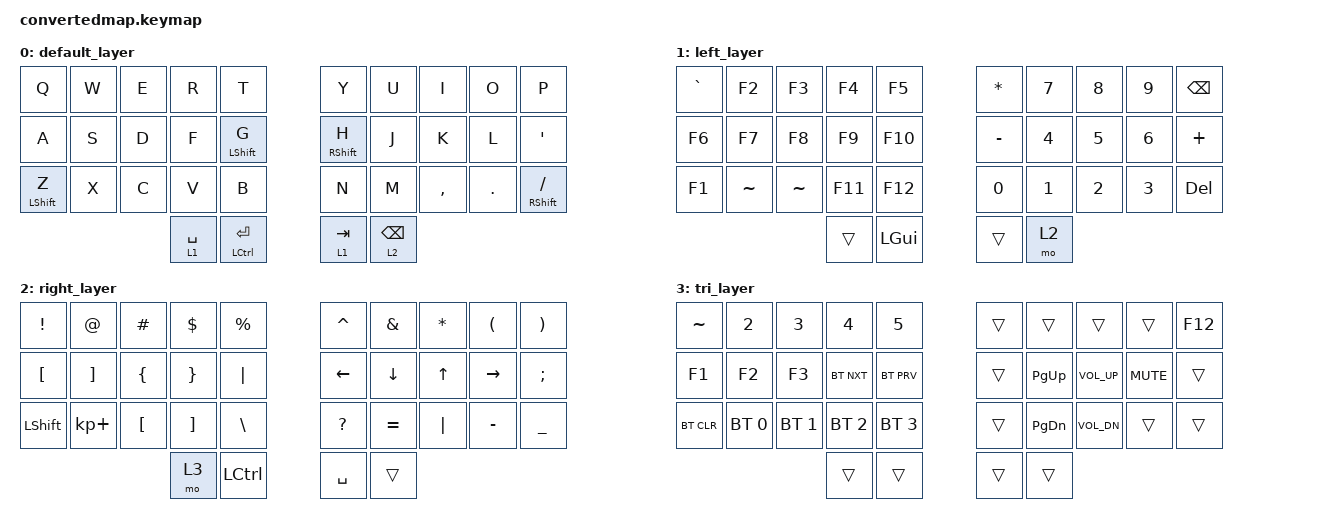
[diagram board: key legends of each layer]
/*
 * Copyright (c) 2020 The ZMK Contributors
 *
 * SPDX-License-Identifier: MIT
 */

#include <behaviors.dtsi>
#include <dt-bindings/zmk/keys.h>
#include <dt-bindings/zmk/bt.h>

/* Adjusted Cradio pin arrangement */
/* The position of Q and B keys have been swapped */
&kscan0 {
	input-gpios
	= <&pro_micro_d  6 (GPIO_ACTIVE_LOW | GPIO_PULL_UP)>
	, <&pro_micro_a  0 (GPIO_ACTIVE_LOW | GPIO_PULL_UP)>
	, <&pro_micro_a  1 (GPIO_ACTIVE_LOW | GPIO_PULL_UP)>
	, <&pro_micro_a  2 (GPIO_ACTIVE_LOW | GPIO_PULL_UP)>
	, <&pro_micro_a  3 (GPIO_ACTIVE_LOW | GPIO_PULL_UP)>
	, <&pro_micro_d 15 (GPIO_ACTIVE_LOW | GPIO_PULL_UP)>
	, <&pro_micro_d 14 (GPIO_ACTIVE_LOW | GPIO_PULL_UP)>
	, <&pro_micro_d 16 (GPIO_ACTIVE_LOW | GPIO_PULL_UP)>
	, <&pro_micro_d 10 (GPIO_ACTIVE_LOW | GPIO_PULL_UP)>
	, <&pro_micro_d  1 (GPIO_ACTIVE_LOW | GPIO_PULL_UP)>
	, <&pro_micro_d  2 (GPIO_ACTIVE_LOW | GPIO_PULL_UP)>
	, <&pro_micro_d  3 (GPIO_ACTIVE_LOW | GPIO_PULL_UP)>
	, <&pro_micro_d  4 (GPIO_ACTIVE_LOW | GPIO_PULL_UP)>
	, <&pro_micro_d  5 (GPIO_ACTIVE_LOW | GPIO_PULL_UP)>
	, <&pro_micro_d  7 (GPIO_ACTIVE_LOW | GPIO_PULL_UP)>
	, <&pro_micro_d  8 (GPIO_ACTIVE_LOW | GPIO_PULL_UP)>
	, <&pro_micro_d  9 (GPIO_ACTIVE_LOW | GPIO_PULL_UP)>
	;
};

&mt {
  //  flavor = "tap-preferred";
   // tapping_term_ms = <125>;
};

/ { 

    combos {
        compatible = "zmk,combos";
        combo_esc {
            timeout-ms = <50>;
            key-positions = <10 11>;
            bindings = <&kp ESC>;
        };
        
         combo_tab {
            timeout-ms = <50>;
            key-positions = <0 1>;
            bindings = <&kp TAB>;
        };
        
            combo_bspc {
            timeout-ms = <50>;
            key-positions = <8 9>;
            bindings = <&kp BSPC>;
        };
        
                    combo_lalt {
            timeout-ms = <50>;
            key-positions = <11 12>;
            bindings = <&kp LALT>;
        };
        
                           combo_lgui {
            timeout-ms = <50>;
            key-positions = <12 13>;
            bindings = <&kp LGUI>;
        };
        
        
           combo_ret {
            timeout-ms = <50>;
            key-positions = <18 19>;
            bindings = <&kp RET>;
        };
        
    				combo_ralt {                                                                                                                          
            timeout-ms = <50>;                                                                                                                    
            key-positions = <17 16>;                                                                                                                
            bindings = <&kp RALT>;                                                                                                                
         };

						combo_rgui {
						timeout-ms = <50>;
						key-positions = <17 18>;
						bindings = <&kp RGUI>;
				 };

        
    };

        keymap {
                compatible = "zmk,keymap";
                
       		default_layer {
		bindings = <
		&kp Q &kp W &kp E &kp R &kp T 						  &kp Y &kp U  &kp I &kp O   &kp P 
		&kp A &kp S &kp D &kp F &mt LSHFT G 			        &mt RSHFT H &kp J  &kp K &kp L   &kp SQT
		&mt LSHFT Z &kp X &kp C &kp V &kp B				  &kp N &kp M  &kp COMMA &kp DOT &mt RSHFT FSLH
          			&lt 1 SPACE &mt LCTRL ENTER  				&lt 1 TAB &lt 2 BSPC
		>;
		};

       		left_layer {
		bindings = <
		&kp GRAVE &kp F2      &kp F3    &kp F4    &kp F5		    &kp ASTRK &kp N7  &kp N8 &kp N9 &kp BSPC
		&kp F6    &kp F7      &kp F8    &kp F9    &kp F10 		  &kp MINUS &kp N4  &kp N5 &kp N6 &kp PLUS 
		&kp F1    &kp TILDE 	&kp TILDE &kp F11   &kp F12 	    &kp N0 &kp N1  &kp N2 &kp N3  &kp DEL 
					    &trans  &kp LGUI  					&trans &mo 2 
		>;
		};
		
		right_layer {
		bindings = <
		&kp EXCL  &kp AT &kp HASH  &kp DLLR  &kp PRCNT    			&kp CARET  &kp AMPS &kp ASTRK &kp LPAR &kp RPAR 
		&kp LBKT  &kp RBKT  &kp LBRC &kp RBRC &kp PIPE         &kp LEFT &kp DOWN  &kp UP  &kp RIGHT   &kp SEMI
		&kp LSHIFT  &kp KP_PLUS &kp LBKT &kp RBKT   &kp BSLH    			&kp QMARK &kp EQUAL &kp PIPE &kp MINUS  &kp UNDER
					  &mo 3 &kp LCTRL  				&kp SPACE  &trans
		>;
		};	
		
		tri_layer {
		bindings = <
		&kp TILDE  &kp N2    &kp N3    &kp N4    &kp N5 			&trans &trans   &trans   &trans  &kp F12
		&kp F1 &kp F2 &kp F3 &bt BT_NXT &bt BT_PRV					&trans &kp PG_UP  &kp K_VOL_UP &kp K_MUTE &trans 
		&bt BT_CLR  &bt BT_SEL 0 &bt BT_SEL 1 &bt BT_SEL 2 &bt BT_SEL 3	   				&trans &kp PG_DN  &kp K_VOL_DN  &trans &trans   
					 &trans &trans  					&trans &trans 
		>;
		};	
        
	};
};
